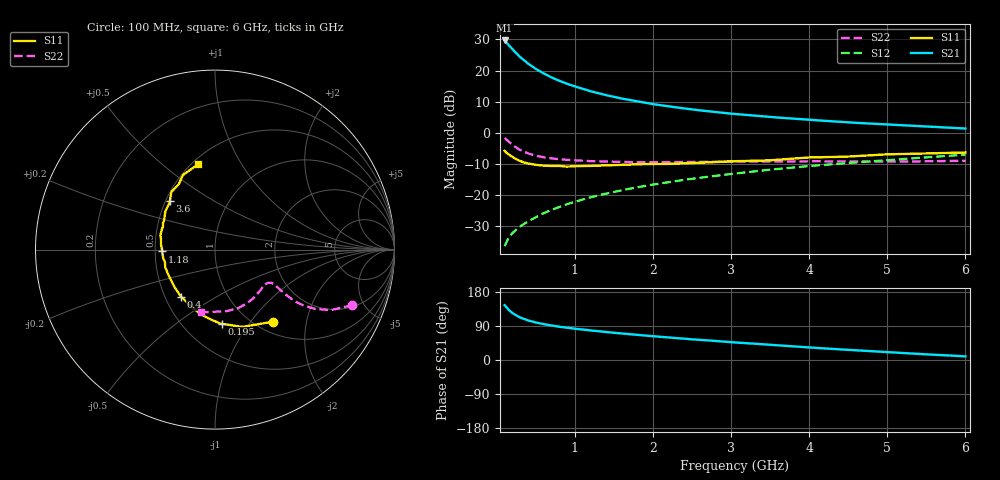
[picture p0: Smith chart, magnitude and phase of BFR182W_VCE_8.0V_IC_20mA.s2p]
! Infineon Technologies  Discrete & RF Semiconductors
! BFR182W
! VCE =  8.0 V,  IC =  20 mA
! Common Emitter S-Parameters:  Nov 2015
# GHz  S  MA  R  50
!  f  S11  S21  S12  S22
! GHz  MAG  ANG  MAG  ANG  MAG  ANG  MAG  ANG
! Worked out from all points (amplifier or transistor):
!   192 points, 100 MHz to 6 GHz, reference 50 ohm
!   highest |S21| = 29.6 dB at 100 MHz (marker M1)
!   |S21| within 3 dB of that: start of sweep to 206.8 MHz
!   unconditionally stable (mu >= 1): 817.6 MHz to 2.749 GHz
!   at 440 MHz: K = 0.86, MSG = 24.7 dB, |S12| = -27.9 dB
!   at 1.7 GHz: K = 1.04, MAG = 12.9 dB, |S12| = -17.9 dB
!   at 6 GHz: K = 0.81, MSG = 4.2 dB, |S12| = -7.0 dB
!   S11 on the Smith chart (normalised r, x): 100 MHz: 1.19, -1.30; 195 MHz: 0.76, -0.76; 400 MHz: 0.60, -0.36; 1.18 GHz: 0.55, -0.01; 3.6 GHz: 0.53, +0.33; 6 GHz: 0.54, +0.67
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0.1  0.5161 -51.1  30.36 144.6  0.0152 71.1  0.8258 -22.0
0.15  0.4565 -70.6  25.77 132.6  0.0205 67.1  0.7252 -27.8
0.195  0.4153 -84.5  22.29 124.7  0.0242 65.1  0.6502 -30.5
0.2  0.4124 -86.2  21.93 123.7  0.0246 64.9  0.642 -30.8
0.24  0.383 -96.2  19.43 118.6  0.0274 64.5  0.5896 -32.1
0.26  0.372 -100.7  18.33 116.2  0.0288 64.5  0.5674 -32.5
0.3  0.3533 -108.2  16.38 111.9  0.0315 64.8  0.531 -32.9
0.4  0.3242 -125.6  12.91 104.2  0.0379 66.1  0.4668 -32.5
0.5  0.3074 -137.0  10.6 98.9  0.0443 67.4  0.4292 -31.7
0.6  0.298 -147.0  8.972 94.6  0.0514 68.5  0.4047 -31.1
0.7  0.2943 -154.2  7.746 90.9  0.0579 69.7  0.3889 -30.5
0.9  0.2874 -165.8  6.105 85.1  0.0717 70.9  0.3683 -30.3
1.1  0.2927 -174.7  5.094 80.4  0.0853 71.3  0.3568 -31.2
1.18  0.294 -178.0  4.74 78.5  0.0909 71.4  0.3524 -31.5
1.6  0.3065 169.2  3.552 69.9  0.12 71.0  0.341 -34.4
2.08  0.3172 157.8  2.795 61.4  0.1534 69.8  0.3381 -39.9
2.5  0.3271 150.2  2.367 54.5  0.1831 68.3  0.3405 -44.9
3.1  0.3518 140.6  1.982 45.7  0.2262 65.8  0.3454 -53.9
3.6  0.3704 132.8  1.759 38.7  0.264 63.2  0.3483 -62.1
4.1  0.4052 125.4  1.59 31.8  0.3001 60.2  0.3497 -70.7
5.1  0.4547 111.9  1.343 19.5  0.3722 54.4  0.3461 -88.9
6  0.4844 101.3  1.174 9.5  0.4467 49.0  0.3575 -103.0
